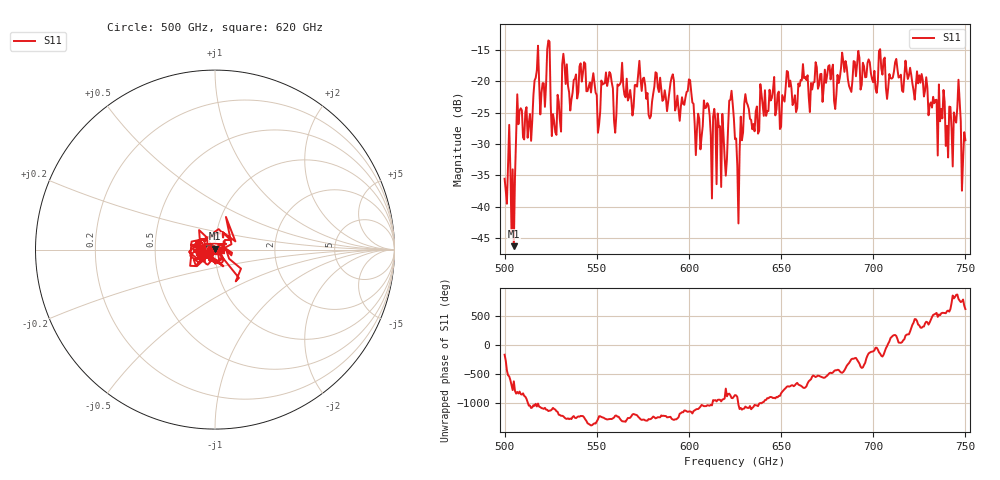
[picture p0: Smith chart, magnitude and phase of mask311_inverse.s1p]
!Created with skrf (http://scikit-rf.org).
# GHz S MA R 50.0
!freq magS11 angS11
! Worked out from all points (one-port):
!   401 points, 500 GHz to 750 GHz, reference 50 ohm
!   lowest |S11| = -46.3 dB at 505 GHz (marker M1), VSWR 1.01, Z = 50 + j0.482 ohm
!   |S11| at or under -10 dB: start of sweep to end of sweep
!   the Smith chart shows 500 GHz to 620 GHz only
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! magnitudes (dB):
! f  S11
! 500 GHz  -35.6
! 505 GHz  -46.3
! 507.5 GHz  -26.9
! 513.8 GHz  -25.2
! 516.9 GHz  -19.5
! 520.6 GHz  -20.3
! 523.8 GHz  -13.5
! 526.9 GHz  -26.3
! 531.2 GHz  -17.3
! 542.5 GHz  -18.7
! 550.6 GHz  -28.2
! 562.5 GHz  -20.5
! 590.6 GHz  -19.4
! 593.8 GHz  -22.3
! 600 GHz  -19.7
! 605 GHz  -25.2
! 609.4 GHz  -24.2
! 618.8 GHz  -28.5
! 623.1 GHz  -21.5
! 625 GHz  -29.2
! 626.2 GHz  -33.5
! 631.2 GHz  -23.3
! 656.2 GHz  -23.8
! 687.5 GHz  -21.2
! 718.8 GHz  -19.6
! 741.9 GHz  -24.1
! 746.2 GHz  -19.8
! 750 GHz  -29.4
